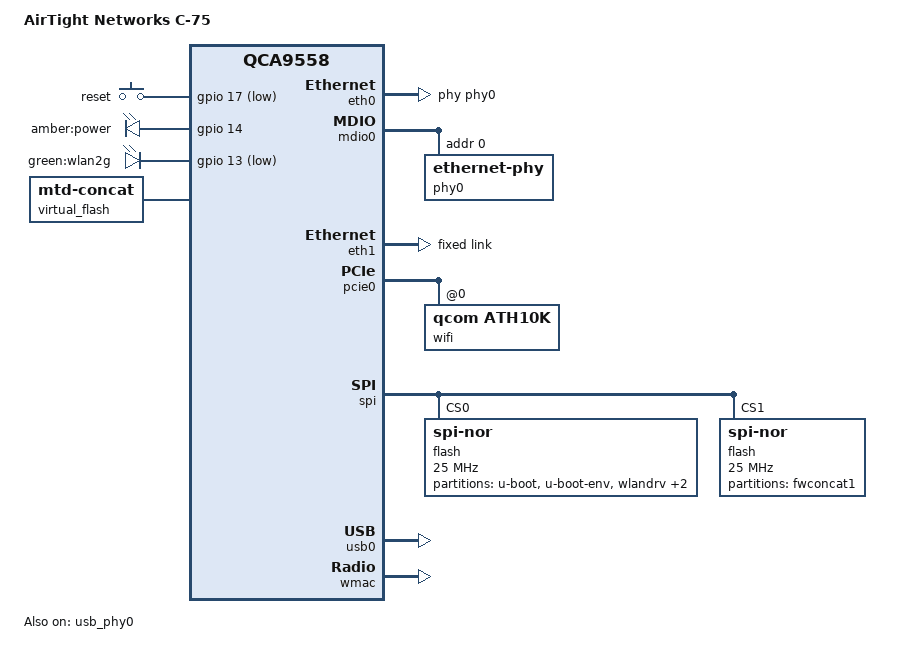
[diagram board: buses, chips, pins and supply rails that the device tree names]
// SPDX-License-Identifier: GPL-2.0-or-later OR MIT

#include "qca955x.dtsi"

#include <dt-bindings/gpio/gpio.h>
#include <dt-bindings/input/input.h>

/ {
	model = "AirTight Networks C-75";
	compatible = "airtight,c-75", "qca,qca9550", "qca,qca9558";

	aliases {
		label-mac-device = &eth0;
		led-boot = &led_power;
		led-failsafe = &led_power;
		led-upgrade = &led_power;
	};

	keys {
		compatible = "gpio-keys";

		reset {
			label = "reset";
			linux,code = <KEY_RESTART>;
			gpios = <&gpio 17 GPIO_ACTIVE_LOW>;
		};
	};

	leds {
		compatible = "gpio-leds";

		led_power: power {
			label = "amber:power";
			gpios = <&gpio 14 GPIO_ACTIVE_HIGH>;
			default-state = "on";
		};

		wlan2g {
			label = "green:wlan2g";
			gpios = <&gpio 13 GPIO_ACTIVE_LOW>;
			linux,default-trigger = "phy1tpt";
		};
	};

	virtual_flash {
		compatible = "mtd-concat";
		devices = <&fwconcat0 &fwconcat1>;

		partitions {
			compatible = "fixed-partitions";
			#address-cells = <1>;
			#size-cells = <1>;

			partition@0 {
				label = "firmware";
				reg = <0x0 0x1f90000>;
				compatible = "denx,uimage";
			};
		};
	};
};

&eth0 {
	status = "okay";

	mtd-mac-address = <&art 0x0>;
	phy-handle = <&phy0>;
	pll-data = <0xa6000000 0x00000101 0x00001616>;
};

&mdio0 {
	status = "okay";

	phy0: ethernet-phy@0 {
		reg = <0>;
		qca,ar8327-initvals = <
			0x04 0x07600000 /* PORT0 PAD MODE CTRL */
			0x0c 0x00080080 /* PORT6 PAD MODE CTRL */
			0x58 0xc935c935 /* LED2 CTRL */
			0x5c 0x03ffff00 /* LED3 CTRL */
			0x7c 0x0000007e /* PORT0_STATUS */
			0x94 0x0000007e /* PORT6_STATUS */
		>;
	};
};

&eth1 {
	status = "okay";

	mtd-mac-address = <&art 0x6>;
	pll-data = <0x03000101 0x00000101 0x00001616>;

	fixed-link {
		speed = <1000>;
		full-duplex;
	};
};

&pcie0 {
	status = "okay";

	wifi@0,0 {
		compatible = "qcom,ath10k";
		reg = <0x0000 0 0 0 0>;
	};
};

&spi {
	status = "okay";

	flash@0 {
		compatible = "jedec,spi-nor";
		reg = <0>;
		spi-max-frequency = <25000000>;

		partitions {
			compatible = "fixed-partitions";
			#address-cells = <1>;
			#size-cells = <1>;

			partition@0 {
				label = "u-boot";
				reg = <0x000000 0x040000>;
				read-only;
			};

			partition@40000 {
				label = "u-boot-env";
				reg = <0x040000 0x010000>;
			};

			partition@50000 {
				label = "wlandrv";
				reg = <0x050000 0x010000>;
				read-only;
			};

			fwconcat0: partition@60000 {
				label = "fwconcat0";
				reg = <0x060000 0xf90000>;
			};

			art: partition@ff0000 {
				label = "art";
				reg = <0xff0000 0x010000>;
				read-only;
			};
		};
	};

	flash@1 {
		compatible = "jedec,spi-nor";
		reg = <1>;
		spi-max-frequency = <25000000>;

		partitions {
			compatible = "fixed-partitions";
			#address-cells = <1>;
			#size-cells = <1>;

			fwconcat1: partition@0 {
				label = "fwconcat1";
				reg = <0x0 0x1000000>;
			};
		};
	};
};

&usb_phy0 {
	status = "okay";
};

&usb0 {
	status = "okay";
};

&wmac {
	status = "okay";

	mtd-cal-data = <&art 0x1000>;
};
